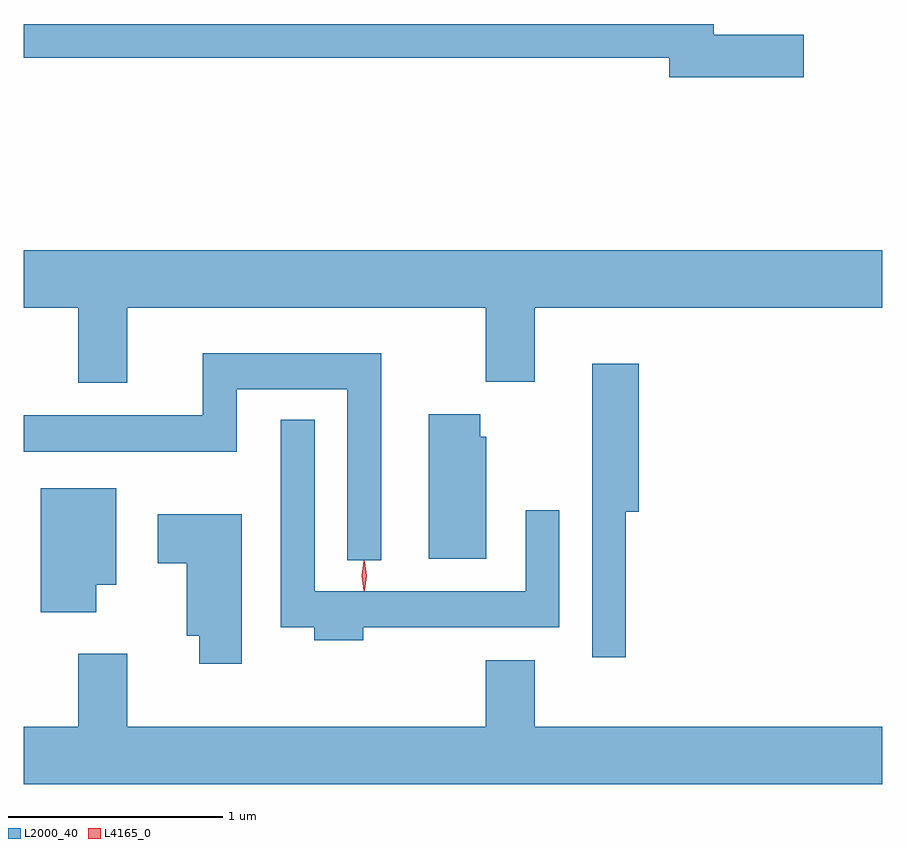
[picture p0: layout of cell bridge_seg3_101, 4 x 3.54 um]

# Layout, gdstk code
import gdstk
lib = gdstk.Library(unit=1e-6, precision=1e-09)
def P(c, l, *ps):  # polygons
    for p in ps: c.add(gdstk.Polygon(p, *l))
L2000_40 = (2000, 40)
L4165_0 = (4165, 0)

bridge_seg3_101 = lib.new_cell('bridge_seg3_101')
P(bridge_seg3_101, L2000_40, [(1011.764,1213.869),(1011.344,1213.869),(1011.344,1213.919),(1008.128,1213.919),(1008.128,1213.761),(1011.136,1213.761),(1011.136,1213.671),(1011.764,1213.671)],
  [(1008.609,1212.596),(1010.281,1212.596),(1010.281,1212.251),(1010.509,1212.251),(1010.509,1212.596),(1012.128,1212.596),(1012.128,1212.864),(1008.128,1212.864),(1008.128,1212.596),(1008.381,1212.596),(1008.381,1212.246),(1008.609,1212.246)],
  [(1009.794,1212.384),(1008.961,1212.384),(1008.961,1212.094),(1008.128,1212.094),(1008.128,1211.926),(1009.119,1211.926),(1009.119,1212.216),(1009.636,1212.216),(1009.636,1211.418),(1009.794,1211.418)],
  [(1010.934,1211.646),(1010.994,1211.646),(1010.994,1212.334),(1010.776,1212.334),(1010.776,1210.968),(1010.934,1210.968)],
  [(1010.284,1211.994),(1010.254,1211.994),(1010.254,1212.099),(1010.016,1212.099),(1010.016,1211.426),(1010.284,1211.426)],
  [(1009.709,1211.106),(1010.624,1211.106),(1010.624,1211.653),(1010.466,1211.653),(1010.466,1211.274),(1009.484,1211.274),(1009.484,1212.073),(1009.326,1212.073),(1009.326,1211.106),(1009.481,1211.106),(1009.481,1211.046),(1009.709,1211.046)],
  [(1008.464,1211.306),(1008.559,1211.306),(1008.559,1211.754),(1008.206,1211.754),(1008.206,1211.176),(1008.464,1211.176)],
  [(1009.144,1211.634),(1008.751,1211.634),(1008.751,1211.406),(1008.886,1211.406),(1008.886,1211.066),(1008.946,1211.066),(1008.946,1210.936),(1009.144,1210.936)],
  [(1012.128,1210.644),(1010.509,1210.644),(1010.509,1210.954),(1010.281,1210.954),(1010.281,1210.644),(1008.609,1210.644),(1008.609,1210.984),(1008.381,1210.984),(1008.381,1210.644),(1008.128,1210.644),(1008.128,1210.376),(1012.128,1210.376)])
P(bridge_seg3_101, L4165_0, [(1009.712,1211.277),(1009.703,1211.347),(1009.712,1211.416),(1009.713,1211.416),(1009.714,1211.416),(1009.723,1211.347),(1009.714,1211.277),(1009.713,1211.277)],
  [(1009.715,1211.28),(1009.715,1211.28),(1009.705,1211.346),(1009.715,1211.412),(1009.715,1211.413),(1009.716,1211.412),(1009.725,1211.346),(1009.716,1211.28)])

lib.write_gds('bridge_seg3_101.gds')
